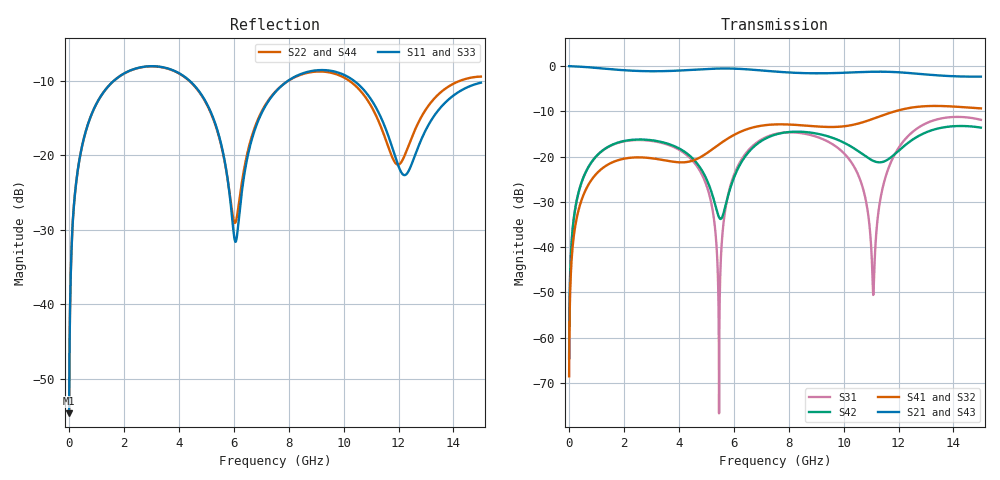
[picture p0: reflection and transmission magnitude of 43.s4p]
! Created with skrf 1.8.0 (http://scikit-rf.org).
# GHz S RI R 50.0
!freq ReS11 ImS11 ReS12 ImS12 ReS13 ImS13
! ReS14 ImS14
! ReS21 ImS21 ReS22 ImS22 ReS23 ImS23
! ReS24 ImS24
! ReS31 ImS31 ReS32 ImS32 ReS33 ImS33
! ReS34 ImS34
! ReS41 ImS41 ReS42 ImS42 ReS43 ImS43
! ReS44 ImS44
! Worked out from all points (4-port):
!   2499 points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, 5 MHz to 15 GHz, reference 50 ohm
!   strongest paths, dB at 5 MHz, 3.476 GHz, 7.19 GHz, 11.1 GHz, 15 GHz:
!     S21: 0.0, -1.1, -1.0, -1.2, -2.3
!     S43: 0.0, -1.1, -1.0, -1.2, -2.3
!     S41: -68.6, -20.8, -13.0, -11.6, -9.3
!     S32: -68.6, -20.8, -13.0, -11.6, -9.4
!     S42: -64.6, -16.9, -15.9, -21.0, -13.6
!     S31: -64.6, -17.1, -15.7, -48.8, -11.9
!   lowest |S11| = -54.6 dB at 5 MHz (marker M1), VSWR 1.00, Z = 50.1 + j0.113 ohm
!   |S11| at or under -10 dB: start of sweep to 1.64 GHz; 4.386 GHz to 7.986 GHz (3.601 GHz wide, 58.2 % of centre); 10.37 GHz to end of sweep
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0.005  0.00148 0.00113  0.9985 -0.00289  7.39e-05 0.000584  -7.19e-05 -0.000367
       0.9985 -0.00289  0.00148 0.00113  -7.19e-05 -0.000367  7.4e-05 0.000584
       7.39e-05 0.000584  -7.19e-05 -0.000367  0.00148 0.00113  0.9985 -0.00289
       -7.19e-05 -0.000367  7.4e-05 0.000584  0.9985 -0.00289  0.00148 0.00113
1.519383  0.2344 0.1894  0.6243 -0.682  0.1113 0.0711  -0.0828 -0.0181
          0.6243 -0.682  0.2336 0.1898  -0.0828 -0.0181  0.1141 0.0679
          0.1113 0.0711  -0.0828 -0.0181  0.2345 0.1895  0.6243 -0.682
          -0.0828 -0.0181  0.1141 0.0679  0.6243 -0.682  0.2336 0.1899
4.595665  0.2172 -0.1906  -0.6011 -0.6892  0.0552 -0.0624  -0.0478 0.079
          -0.6011 -0.6892  0.22 -0.1844  -0.0479 0.079  0.0416 -0.0788
          0.0552 -0.0624  -0.0479 0.079  0.2182 -0.1904  -0.6008 -0.6892
          -0.0478 0.079  0.0416 -0.0788  -0.6008 -0.6892  0.22 -0.1852
5.464777  0.0623 -0.1194  -0.8701 -0.3562  -9.74e-05 -0.000108  -0.0476 0.1278
          -0.8701 -0.3562  0.0687 -0.1134  -0.0476 0.1278  -0.0192 -0.00945
          -9.74e-05 -0.000108  -0.0476 0.1278  0.0639 -0.1197  -0.8698 -0.3565
          -0.0476 0.1278  -0.0192 -0.00945  -0.8698 -0.3565  0.0679 -0.1148
6.927887  0.1102 0.1383  -0.8254 0.3586  0.1032 0.1078  0.1144 0.1851
          -0.8254 0.3586  0.1204 0.1359  0.1142 0.1848  0.0948 0.1079
          0.1032 0.1078  0.1142 0.1848  0.1118 0.1362  -0.8257 0.3584
          0.1144 0.1851  0.0948 0.1079  -0.8257 0.3584  0.1177 0.1358
11.07962  0.1616 -0.156  0.6566 0.5659  -0.00273 -0.00114  0.1653 -0.2034
          0.6566 0.5659  0.1535 -0.1302  0.1658 -0.2029  -0.0679 -0.0587
          -0.00273 -0.00114  0.1658 -0.2029  0.1605 -0.157  0.6571 0.5653
          0.1653 -0.2034  -0.0679 -0.0587  0.6571 0.5653  0.154 -0.1293
15  0.3048 0.0283  0.2469 -0.7239  0.2435 -0.0762  -0.3404 -0.0214
    0.2469 -0.7239  0.336 -0.0178  -0.3388 -0.0225  0.2035 -0.0484
    0.2435 -0.0762  -0.3388 -0.0225  0.3041 0.0221  0.2453 -0.7255
    -0.3404 -0.0214  0.2035 -0.0484  0.2453 -0.7255  0.3316 -0.0147
